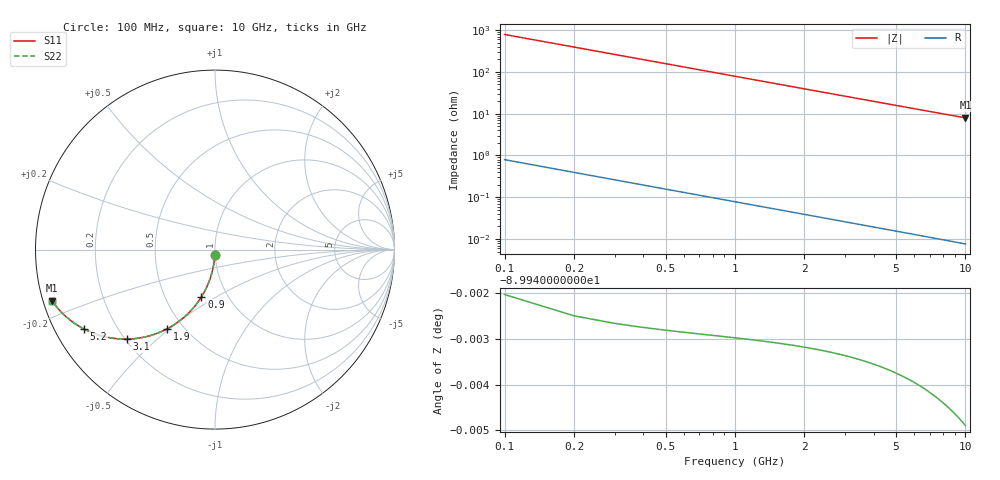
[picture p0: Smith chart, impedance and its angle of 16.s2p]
# Hz S RI R 50.00
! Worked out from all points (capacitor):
!   100 points, 100 MHz to 10 GHz, reference 50 ohm
!   read as one part in shunt: C = 2.03 pF near 100 MHz
!   lowest |Z| = 7.96 ohm at 10 GHz (marker M1)
!   S11 on the Smith chart (normalised r, x): 100 MHz: 1.00, -0.06; 900 MHz: 0.75, -0.43; 1.9 GHz: 0.41, -0.49; 3.1 GHz: 0.21, -0.40; 5.2 GHz: 0.08, -0.28; 10 GHz: 0.02, -0.15
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1e8  -0.00103 -0.0318  0.9989 -0.0318  0.9989 -0.0318  -0.00103 -0.0318
2e8  -0.00409 -0.0634  0.9959 -0.0635  0.9959 -0.0635  -0.00409 -0.0634
3e8  -0.00912 -0.0946  0.9909 -0.0947  0.9909 -0.0947  -0.00912 -0.0946
4e8  -0.0161 -0.1252  0.9839 -0.1254  0.9839 -0.1254  -0.0161 -0.1252
5e8  -0.0248 -0.1551  0.9751 -0.1553  0.9751 -0.1553  -0.0248 -0.1551
6e8  -0.0354 -0.1841  0.9646 -0.1844  0.9646 -0.1844  -0.0354 -0.1841
7e8  -0.0475 -0.212  0.9525 -0.2124  0.9525 -0.2124  -0.0475 -0.212
9e8  -0.0761 -0.2644  0.9239 -0.2648  0.9239 -0.2648  -0.0761 -0.2644
1.1e9  -0.1094 -0.3114  0.8905 -0.312  0.8905 -0.312  -0.1094 -0.3114
1.3e9  -0.1464 -0.3527  0.8536 -0.3533  0.8536 -0.3533  -0.1464 -0.3527
1.5e9  -0.1858 -0.3881  0.8142 -0.3888  0.8142 -0.3888  -0.1858 -0.3881
1.8e9  -0.2472 -0.4304  0.7528 -0.4313  0.7528 -0.4313  -0.2472 -0.4304
1.9e9  -0.2678 -0.4419  0.7322 -0.4428  0.7322 -0.4428  -0.2678 -0.4419
2.5e9  -0.3874 -0.486  0.6126 -0.4873  0.6126 -0.4873  -0.3874 -0.486
3.1e9  -0.4926 -0.4987  0.5073 -0.5002  0.5073 -0.5002  -0.4926 -0.4987
3.4e9  -0.5386 -0.4972  0.4614 -0.4988  0.4614 -0.4988  -0.5386 -0.4972
4.2e9  -0.6401 -0.4784  0.3599 -0.4805  0.3599 -0.4805  -0.6401 -0.4784
5.1e9  -0.7236 -0.4455  0.2764 -0.448  0.2764 -0.448  -0.7236 -0.4455
5.2e9  -0.7313 -0.4415  0.2687 -0.4441  0.2687 -0.4441  -0.7313 -0.4415
6.7e9  -0.8184 -0.3834  0.1816 -0.3867  0.1816 -0.3867  -0.8184 -0.3834
8.4e9  -0.876 -0.327  0.1239 -0.3311  0.1239 -0.3311  -0.876 -0.327
1e10  -0.9091 -0.2845  0.0909 -0.2895  0.0909 -0.2895  -0.9091 -0.2845
